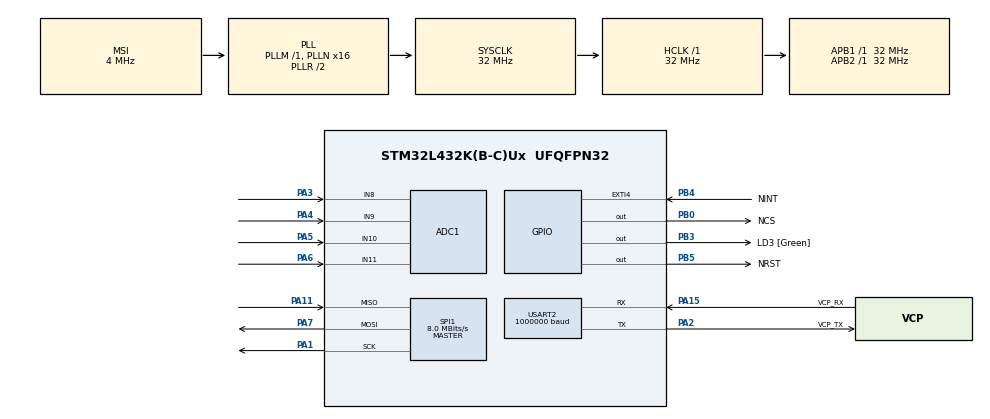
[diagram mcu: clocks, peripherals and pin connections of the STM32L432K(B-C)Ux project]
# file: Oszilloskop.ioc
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ADC1.Channel-0\#ChannelRegularConversion=ADC_CHANNEL_8
ADC1.Channel-1\#ChannelRegularConversion=ADC_CHANNEL_9
ADC1.Channel-2\#ChannelRegularConversion=ADC_CHANNEL_10
ADC1.Channel-3\#ChannelRegularConversion=ADC_CHANNEL_11
ADC1.ClockPrescaler=ADC_CLOCK_ASYNC_DIV64
ADC1.ContinuousConvMode=ENABLE
ADC1.DMAContinuousRequests=ENABLE
ADC1.EOCSelection=ADC_EOC_SEQ_CONV
ADC1.NbrOfConversion=4
ADC1.NbrOfConversionFlag=1
ADC1.OffsetNumber-0\#ChannelRegularConversion=ADC_OFFSET_NONE
ADC1.OffsetNumber-1\#ChannelRegularConversion=ADC_OFFSET_NONE
ADC1.OffsetNumber-2\#ChannelRegularConversion=ADC_OFFSET_NONE
ADC1.OffsetNumber-3\#ChannelRegularConversion=ADC_OFFSET_NONE
ADC1.Overrun=ADC_OVR_DATA_PRESERVED
ADC1.Rank-0\#ChannelRegularConversion=1
ADC1.Rank-1\#ChannelRegularConversion=2
ADC1.Rank-2\#ChannelRegularConversion=3
ADC1.Rank-3\#ChannelRegularConversion=4
ADC1.SamplingTime-0\#ChannelRegularConversion=ADC_SAMPLETIME_12CYCLES_5
ADC1.SamplingTime-1\#ChannelRegularConversion=ADC_SAMPLETIME_12CYCLES_5
ADC1.SamplingTime-2\#ChannelRegularConversion=ADC_SAMPLETIME_12CYCLES_5
ADC1.SamplingTime-3\#ChannelRegularConversion=ADC_SAMPLETIME_12CYCLES_5
ADC1.master=1
Dma.ADC1.0.Direction=DMA_PERIPH_TO_MEMORY
Dma.ADC1.0.Instance=DMA1_Channel1
Dma.ADC1.0.MemDataAlignment=DMA_MDATAALIGN_HALFWORD
Dma.ADC1.0.MemInc=DMA_MINC_ENABLE
Dma.ADC1.0.Mode=DMA_CIRCULAR
Dma.ADC1.0.PeriphDataAlignment=DMA_PDATAALIGN_HALFWORD
Dma.ADC1.0.PeriphInc=DMA_PINC_DISABLE
Dma.ADC1.0.Priority=DMA_PRIORITY_VERY_HIGH
Dma.Request0=ADC1
Mcu.Family=STM32L4
Mcu.Name=STM32L432K(B-C)Ux
Mcu.Package=UFQFPN32
NVIC.ADC1_IRQn=true\:0\:0\:false\:false\:true\:true\:true\:true
NVIC.DMA1_Channel1_IRQn=true\:0\:0\:false\:false\:true\:false\:true\:true
NVIC.EXTI4_IRQn=true\:0\:0\:false\:false\:true\:true\:true\:true
NVIC.PriorityGroup=NVIC_PRIORITYGROUP_4
NVIC.TIM6_DAC_IRQn=true\:0\:0\:false\:false\:true\:true\:true\:true
NVIC.USART2_IRQn=true\:0\:0\:false\:false\:true\:true\:true\:true
PA0.GPIO_Label=MCO [High speed clock in]
PA0.Mode=HSE-External-Clock-Source-for-LittleOrca
PA0.Signal=RCC_CK_IN
PA1.Mode=Full_Duplex_Master
PA1.Signal=SPI1_SCK
PA11.Mode=Full_Duplex_Master
PA11.Signal=SPI1_MISO
PA13\ (JTMS-SWDIO).GPIO_Label=SWDIO
PA13\ (JTMS-SWDIO).Mode=Serial_Wire
PA13\ (JTMS-SWDIO).Signal=SYS_JTMS-SWDIO
PA14\ (JTCK-SWCLK).GPIO_Label=SWCLK
PA14\ (JTCK-SWCLK).Mode=Serial_Wire
PA14\ (JTCK-SWCLK).Signal=SYS_JTCK-SWCLK
PA15\ (JTDI).GPIO_Label=VCP_RX
PA15\ (JTDI).Mode=Asynchronous
PA15\ (JTDI).Signal=USART2_RX
PA2.GPIO_Label=VCP_TX
PA2.Mode=Asynchronous
PA2.Signal=USART2_TX
PA3.Signal=ADCx_IN8
PA4.Signal=ADCx_IN9
PA5.Signal=ADCx_IN10
PA6.Signal=ADCx_IN11
PA7.Mode=Full_Duplex_Master
PA7.Signal=SPI1_MOSI
PB0.GPIO_Label=NCS
PB0.Signal=GPIO_Output
PB3\ (JTDO-TRACESWO).GPIO_Label=LD3 [Green]
PB3\ (JTDO-TRACESWO).Signal=GPIO_Output
PB4\ (NJTRST).GPIO_Label=NINT
PB4\ (NJTRST).GPIO_ModeDefaultEXTI=GPIO_MODE_IT_FALLING
PB4\ (NJTRST).Signal=GPXTI4
PB5.GPIO_Label=NRST
PB5.Signal=GPIO_Output
PC14-OSC32_IN\ (PC14).Mode=LSE-External-Oscillator
PC14-OSC32_IN\ (PC14).Signal=RCC_OSC32_IN
PC15-OSC32_OUT\ (PC15).Mode=LSE-External-Oscillator
PC15-OSC32_OUT\ (PC15).Signal=RCC_OSC32_OUT
ProjectManager.HeapSize=0x200
ProjectManager.StackSize=0x400
ProjectManager.TargetToolchain=STM32CubeIDE
RCC.ADCFreq_Value=32000000
RCC.AHBFreq_Value=32000000
RCC.APB1Freq_Value=32000000
RCC.APB1TimFreq_Value=32000000
RCC.APB2Freq_Value=32000000
RCC.APB2TimFreq_Value=32000000
RCC.CortexFreq_Value=32000000
RCC.HCLKFreq_Value=32000000
RCC.HSE_VALUE=8000000
RCC.HSI16_VALUE=16000000
RCC.HSI48_VALUE=48000000
RCC.HSI_VALUE=16000000
RCC.MSI_VALUE=4000000
RCC.PLLMUL=RCC_PLLMUL_4
RCC.PLLN=16
RCC.PLLSAI1N=16
RCC.SYSCLKFreq_VALUE=32000000
RCC.SYSCLKSource=RCC_SYSCLKSOURCE_PLLCLK
RCC.USBFreq_Value=32000000
RCC.VCOOutputFreq_Value=64000000
SH.ADCx_IN10.0=ADC1_IN10,IN10-Single-Ended
SH.ADCx_IN11.0=ADC1_IN11,IN11-Single-Ended
SH.ADCx_IN8.0=ADC1_IN8,IN8-Single-Ended
SH.ADCx_IN9.0=ADC1_IN9,IN9-Single-Ended
SPI1.BaudRatePrescaler=SPI_BAUDRATEPRESCALER_4
SPI1.CalculateBaudRate=8.0 MBits/s
SPI1.DataSize=SPI_DATASIZE_8BIT
SPI1.Direction=SPI_DIRECTION_2LINES
SPI1.Mode=SPI_MODE_MASTER
SPI1.VirtualType=VM_MASTER
USART2.BaudRate=1000000
USART2.VirtualMode-Asynchronous=VM_ASYNC
VP_TIM6_VS_ClockSourceINT.Mode=Enable_Timer
board=NUCLEO-L432KC

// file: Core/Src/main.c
/* USER CODE BEGIN Header */
/**
  ******************************************************************************
  * @file           : main.c
  * @brief          : Main program body
  ******************************************************************************
  * @attention
  *
  * Copyright (c) 2025 STMicroelectronics.
  * All rights reserved.
  *
  * This software is licensed under terms that can be found in the LICENSE file
  * in the root directory of this software component.
  * If no LICENSE file comes with this software, it is provided AS-IS.
  *
  ******************************************************************************
  */
/* USER CODE END Header */
#include "main.h"
#include "adc.h"
#include "dma.h"
#include "spi.h"
#include "tim.h"
#include "usart.h"
#include "gpio.h"

/* USER CODE BEGIN Includes */
#include "channelData.h"
#include <wizchip_conf.h>
/* USER CODE END Includes */

void SystemClock_Config(void);

/* USER CODE BEGIN 0 */

void HAL_ADC_ConvCpltCallback(ADC_HandleTypeDef *hadc) {
	if (hadc == &hadc1) {
		// der DMA buffer ist complett voll und der ADC wird vom anfang an beginnen, zweite hälfte kann geschickt werden
		if (running == 1)  {
			//uint16_t len = DMA_BUFFER_LEN / 2;
			//HAL_UART_Transmit(&huart2, (void*)&len, sizeof(uint16_t), 100);
			//HAL_UART_Transmit(&huart2, (void*)&dmaBuffer[DMA_BUFFER_LEN / 2], DMA_BUFFER_LEN / 2, 100);
			HAL_UART_Transmit_IT(&huart2, (void*)&dmaBuffer[DMA_BUFFER_LEN / 2], DMA_BUFFER_LEN / 2);
		}
		/*
		else if (running == 2) {
			// for a single buffer the dma is simply stoped when a buffer is written
			HAL_ADC_Stop_DMA(&hadc1);
			running = 0;
		}*/
	}
}

void HAL_ADC_ConvHalfCpltCallback(ADC_HandleTypeDef *hadc) {
	if (hadc == &hadc1) {
		// der DMA buffer ist halb voll und die erste hälfte kann geschickt werden
		if (running == 1) {
			//uint16_t len = DMA_BUFFER_LEN / 2;
			//HAL_UART_Transmit(&huart2, (void*)&len, sizeof(uint16_t), 100);
			//HAL_UART_Transmit(&huart2, (void*)dmaBuffer, DMA_BUFFER_LEN / 2, 100);
			HAL_UART_Transmit_IT(&huart2, (void*)dmaBuffer, DMA_BUFFER_LEN / 2);
		}
	}
}

void configADCStreaming() {
	HAL_ADC_Stop_DMA(&hadc1); // stops previous dma conversion
	MX_ADC1_Init(); // Streaming is the default ADC ioc config
}

void configADCSingleBuffer() {
	// stop prevous conversion
	HAL_ADC_Stop_DMA(&hadc1);

	// reconfig the adc for fastest conversion
	ADC_ChannelConfTypeDef sConfig = {0};

	/** Common config
	*/
	hadc1.Instance = ADC1;
	hadc1.Init.ClockPrescaler = ADC_CLOCK_ASYNC_DIV1; // the clock prescaler has to be 1 for max samples
	hadc1.Init.Resolution = ADC_RESOLUTION_12B;
	hadc1.Init.DataAlign = ADC_DATAALIGN_RIGHT;
	hadc1.Init.ScanConvMode = ADC_SCAN_ENABLE;
	hadc1.Init.EOCSelection = ADC_EOC_SEQ_CONV;
	hadc1.Init.LowPowerAutoWait = DISABLE;
	hadc1.Init.ContinuousConvMode = ENABLE;
	hadc1.Init.NbrOfConversion = 4;
	hadc1.Init.DiscontinuousConvMode = DISABLE;
	hadc1.Init.ExternalTrigConv = ADC_SOFTWARE_START;
	hadc1.Init.ExternalTrigConvEdge = ADC_EXTERNALTRIGCONVEDGE_NONE;
	hadc1.Init.DMAContinuousRequests = ENABLE;
	hadc1.Init.Overrun = ADC_OVR_DATA_PRESERVED;
	hadc1.Init.OversamplingMode = DISABLE;
	if (HAL_ADC_Init(&hadc1) != HAL_OK)
	{
	Error_Handler();
	}

	/** Configure Regular Channel
	*/
	sConfig.Channel = ADC_CHANNEL_8;
	sConfig.Rank = ADC_REGULAR_RANK_1;
	sConfig.SamplingTime = ADC_SAMPLETIME_2CYCLES_5; // sets the sample time to 2.5 cycles instead of 12.5 for faster conversion
	sConfig.SingleDiff = ADC_SINGLE_ENDED;
	sConfig.OffsetNumber = ADC_OFFSET_NONE;
	sConfig.Offset = 0;
	if (HAL_ADC_ConfigChannel(&hadc1, &sConfig) != HAL_OK)
	{
	Error_Handler();
	}

	/** Configure Regular Channel
	*/
	sConfig.Channel = ADC_CHANNEL_9;
	sConfig.Rank = ADC_REGULAR_RANK_2;
	if (HAL_ADC_ConfigChannel(&hadc1, &sConfig) != HAL_OK)
	{
	Error_Handler();
	}

	/** Configure Regular Channel
	*/
	sConfig.Channel = ADC_CHANNEL_10;
	sConfig.Rank = ADC_REGULAR_RANK_3;
	if (HAL_ADC_ConfigChannel(&hadc1, &sConfig) != HAL_OK)
	{
	Error_Handler();
	}

	/** Configure Regular Channel
	*/
	sConfig.Channel = ADC_CHANNEL_11;
	sConfig.Rank = ADC_REGULAR_RANK_4;
	if (HAL_ADC_ConfigChannel(&hadc1, &sConfig) != HAL_OK)
	{
	Error_Handler();
	}
}

void cs_sel() {
	HAL_GPIO_WritePin(NRST_GPIO_Port, NRST_Pin, GPIO_PIN_RESET); //CS LOW
}

void cs_desel() {
	HAL_GPIO_WritePin(NRST_GPIO_Port, NRST_Pin, GPIO_PIN_SET); //CS HIGH
}

uint8_t spi_rb(void) {
	uint8_t rbuf;
	HAL_SPI_Receive(&hspi1, &rbuf, 1, 0xFFFFFFFF);
	return rbuf;
}

void spi_wb(uint8_t b) {
	HAL_SPI_Transmit(&hspi1, &b, 1, 0xFFFFFFFF);
}

/* USER CODE END 0 */

int main(void)
{

  /* MCU Configuration--------------------------------------------------------*/

  /* Reset of all peripherals, Initializes the Flash interface and the Systick. */
  HAL_Init();

  /* Configure the system clock */
  SystemClock_Config();

  /* Initialize all configured peripherals */
  MX_GPIO_Init();
  MX_DMA_Init();
  MX_USART2_UART_Init();
  MX_ADC1_Init();
  MX_TIM6_Init();
  MX_SPI1_Init();
  /* USER CODE BEGIN 2 */
  uint8_t retVal, sockStatus;
  int16_t rcvLen;
  uint8_t rcvBuf[20], bufSize[] = {2, 2, 2, 2};

  reg_wizchip_cs_cbfunc(cs_sel, cs_desel);
  reg_wizchip_spi_cbfunc(spi_rb, spi_wb);

  /* USER CODE END 2 */

  /* Infinite loop */
  /* USER CODE BEGIN WHILE */

  //HAL_TIM_Base_Start(&htim6);
  //htim6.Instance->CNT = 0;
  // der DMA (direct memory access) speichert direct den ADC wert in einen gegebenen buffer mit einer gegebenen länge
  // wenn der buffer halb voll ist und voll ist, dann schickt man die daten und es loopt wieder zum start zum schreiben
  // HAL_ADC_Start_DMA(&hadc1, (uint32_t*)dmaBuffer, DMA_BUFFER_LEN);
  //HAL_DMA_Start(hdma, SrcAddress, DstAddress, DataLength);

  /*
   * The current config is for 4 channels so the following data has to be sent:
   * 	- num Channels: 4 (1 byte uint)
   * 	- for each channel: (4 times)
   * 		- scale (4 byte float)
   * 	- frequency: 10000 (4 byte float)
   * 	- data packet length DMA_BUFFER_LEN / 2 (2 byte uint)
   */

  while (1)
  {
	  uint8_t numChannels;
	  uint8_t newState;
	  float frequency;
	  float channelInputRanges[4] = {10, 36, 10, 1};
	  while (HAL_UART_Receive(&huart2, &newState, 1, 100) != HAL_OK) {}
	  running = 0;
	  switch (newState) {

	  case 1:
		  // configure the adc for a uart manageable conversion speed
		  //configADCStreaming();

		  // send all relevant data for streaming
		  numChannels = 4;
		  HAL_UART_Transmit(&huart2, (void*)&numChannels, sizeof(uint8_t), 100);
		  for (int i = 0; i < numChannels; i++) {
			  float scale = calculateScale(channelInputRanges[i]);
			  HAL_UART_Transmit(&huart2, (void*)&scale, sizeof(float), 100);
		  }
		  frequency = 10000;
		  HAL_UART_Transmit(&huart2, (void*)&frequency, sizeof(float), 100);
		  uint16_t len = DMA_BUFFER_LEN / 2;
		  HAL_UART_Transmit(&huart2, (void*)&len, sizeof(uint16_t), 100);

		  // start continuous dma conversion
		  running = 1;
		  HAL_ADC_Start_DMA(&hadc1, (uint32_t*)dmaBuffer, DMA_BUFFER_LEN);
		  break;

	  /*case 2:
		  // configure the adc for maximum converison speed
		  configADCSingleBuffer();

		  // in case two we want to read a single data lenght at our max reading frequency into a variable lenght dma buffer
		  uint16_t numReadings;
		  while (HAL_UART_Receive(&huart2, &numReadings, 2, 100) != HAL_OK) {}
		  uint16_t dmaBufferLen = numReadings * 4;
		  uint16_t* dmaSingleBuffer = (uint16_t*)malloc(dmaBufferLen);
		  HAL_ADC_Stop_DMA(&hadc1);
		  running = 2;
		  HAL_ADC_Start_DMA(&hadc1, (uint32_t*)dmaSingleBuffer, dmaBufferLen);

		  // wait until the dma is full
		  while (running != 0) {}

		  // send all the data needed for interpreting the buffer
		  numChannels = 4;
		  HAL_UART_Transmit(&huart2, (void*)&numChannels, sizeof(uint8_t), 100);
		  for (int i = 0; i < numChannels; i++) {
			  float scale = calculateScale(channelInputRanges[i]);
			  HAL_UART_Transmit(&huart2, (void*)&scale, sizeof(float), 100);
		  }
		  frequency = 533333.333;
		  HAL_UART_Transmit(&huart2, (void*)&frequency, sizeof(float), 100);

		  // send the dma buffer
		  HAL_UART_Transmit(&huart2, dmaSingleBuffer, dmaBufferLen * sizeof(uint16_t), 100);

		  // free all of the data to avoid memory leaks
		  free(dmaSingleBuffer);
		  break;*/

	  }

	  /*if (newState) {
		  // wenn es anfängt zu schicken muss man folgendes schicken zur syncronisierung
		  uint8_t numChannels = 4;
		  HAL_UART_Transmit(&huart2, (void*)&numChannels, sizeof(uint8_t), 100);
		  float channelInputRanges[4] = {10, 36, 10, 1};
		  for (int i = 0; i < numChannels; i++) {
			  float scale = calculateScale(channelInputRanges[i]);
			  HAL_UART_Transmit(&huart2, (void*)&scale, sizeof(float), 100);
		  }
		  float frequency = 10000;
		  HAL_UART_Transmit(&huart2, (void*)&frequency, sizeof(float), 100);
		  uint16_t len = DMA_BUFFER_LEN / 2;
		  HAL_UART_Transmit(&huart2, (void*)&len, sizeof(uint16_t), 100);
		  running = 1;
	  }*/
	  	// alles außer 1 wird als stop interprätiert
    /* USER CODE END WHILE */

  }
}

void SystemClock_Config(void)
{
  RCC_OscInitTypeDef RCC_OscInitStruct = {0};
  RCC_ClkInitTypeDef RCC_ClkInitStruct = {0};

  /** Configure the main internal regulator output voltage
  */
  if (HAL_PWREx_ControlVoltageScaling(PWR_REGULATOR_VOLTAGE_SCALE1) != HAL_OK)
  {
    Error_Handler();
  }

  /** Configure LSE Drive Capability
  */
  HAL_PWR_EnableBkUpAccess();
  __HAL_RCC_LSEDRIVE_CONFIG(RCC_LSEDRIVE_LOW);

  /** Initializes the RCC Oscillators according to the specified parameters
  * in the RCC_OscInitTypeDef structure.
  */
  RCC_OscInitStruct.OscillatorType = RCC_OSCILLATORTYPE_LSE|RCC_OSCILLATORTYPE_MSI;
  RCC_OscInitStruct.LSEState = RCC_LSE_ON;
  RCC_OscInitStruct.MSIState = RCC_MSI_ON;
  RCC_OscInitStruct.MSICalibrationValue = 0;
  RCC_OscInitStruct.MSIClockRange = RCC_MSIRANGE_6;
  RCC_OscInitStruct.PLL.PLLState = RCC_PLL_ON;
  RCC_OscInitStruct.PLL.PLLSource = RCC_PLLSOURCE_MSI;
  RCC_OscInitStruct.PLL.PLLM = 1;
  RCC_OscInitStruct.PLL.PLLN = 16;
  RCC_OscInitStruct.PLL.PLLP = RCC_PLLP_DIV7;
  RCC_OscInitStruct.PLL.PLLQ = RCC_PLLQ_DIV2;
  RCC_OscInitStruct.PLL.PLLR = RCC_PLLR_DIV2;
  if (HAL_RCC_OscConfig(&RCC_OscInitStruct) != HAL_OK)
  {
    Error_Handler();
  }

  /** Initializes the CPU, AHB and APB buses clocks
  */
  RCC_ClkInitStruct.ClockType = RCC_CLOCKTYPE_HCLK|RCC_CLOCKTYPE_SYSCLK
                              |RCC_CLOCKTYPE_PCLK1|RCC_CLOCKTYPE_PCLK2;
  RCC_ClkInitStruct.SYSCLKSource = RCC_SYSCLKSOURCE_PLLCLK;
  RCC_ClkInitStruct.AHBCLKDivider = RCC_SYSCLK_DIV1;
  RCC_ClkInitStruct.APB1CLKDivider = RCC_HCLK_DIV1;
  RCC_ClkInitStruct.APB2CLKDivider = RCC_HCLK_DIV1;

  if (HAL_RCC_ClockConfig(&RCC_ClkInitStruct, FLASH_LATENCY_1) != HAL_OK)
  {
    Error_Handler();
  }

  /** Enable MSI Auto calibration
  */
  HAL_RCCEx_EnableMSIPLLMode();
}

void Error_Handler(void)
{
  __disable_irq();
  while (1)
  {
  }
}
